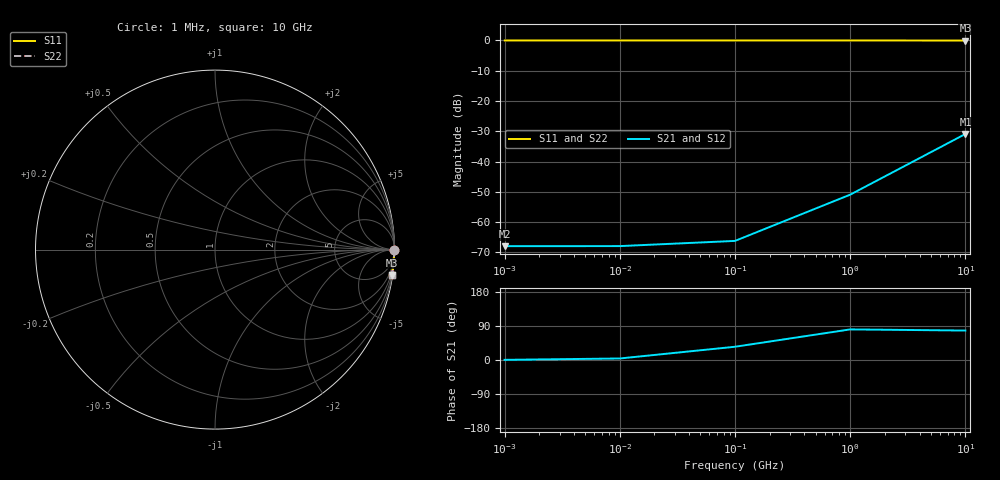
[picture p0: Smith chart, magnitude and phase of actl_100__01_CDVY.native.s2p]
! Sonnet Data File
! From: em Version : 18.53-Lite
! From Project: actl_100__01_CDVY
! Data is NOT De-embedded
! Data File Written: 10/12/2026 12:07:04
!< HDATE 10/12/2026 12:07:04
!< MDATE 10/12/2026 12:07:04
# GHZ S RI R 50.00000
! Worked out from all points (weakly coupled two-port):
!   5 points, 1 MHz to 10 GHz, reference 50 ohm
!   highest |S21| = -30.90 dB at 10 GHz (marker M1); lowest = -68.0 dB at 1 MHz (marker M2)
!   lowest |S11| = 0.0 dB at 10 GHz (marker M3), VSWR 570.25, Z = 17.2 - j698 ohm
!   |S11| at or under -10 dB: nowhere
!   |S22| runs from 0.0 to 0.0 dB; largest |S21 - S12| = 2.8e-10
0.001  0.9996 -1.42e-05  0.0004 2.8e-06  0.0004 2.8e-06  0.9996 -1.42e-05
0.01  0.9996 -0.000142  0.0004 2.8e-05  0.0004 2.8e-05  0.9996 -0.000142
0.1  0.9996 -0.00142  0.0004 0.00028  0.0004 0.00028  0.9996 -0.00142
1  0.9995 -0.0142  0.000456 0.0028  0.000456 0.0028  0.9995 -0.0142
10  0.9863 -0.1419  0.00607 0.0278  0.00607 0.0278  0.9863 -0.1419
